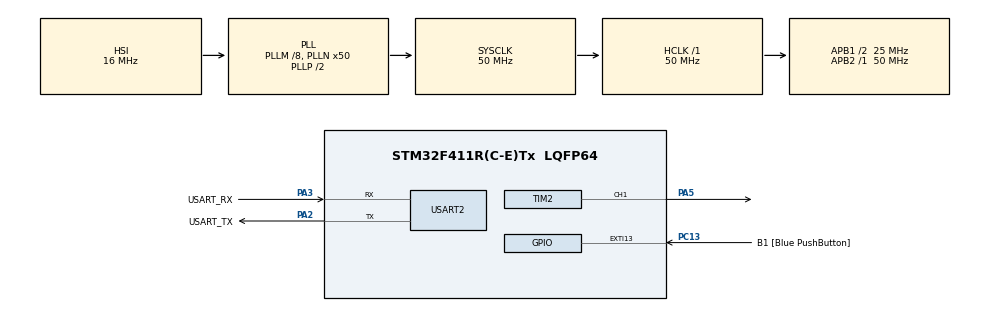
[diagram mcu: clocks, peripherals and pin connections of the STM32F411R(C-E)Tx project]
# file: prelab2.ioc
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FREERTOS.Tasks01=defaultTask,0,128,StartDefaultTask,Default,NULL,Dynamic,NULL,NULL
FREERTOS.configUSE_TIMERS=1
Mcu.Family=STM32F4
Mcu.Name=STM32F411R(C-E)Tx
Mcu.Package=LQFP64
NVIC.PriorityGroup=NVIC_PRIORITYGROUP_4
PA13.GPIO_Label=TMS
PA13.Mode=Serial_Wire
PA13.Signal=SYS_JTMS-SWDIO
PA14.GPIO_Label=TCK
PA14.Mode=Serial_Wire
PA14.Signal=SYS_JTCK-SWCLK
PA2.GPIO_Label=USART_TX
PA2.Mode=Asynchronous
PA2.Signal=USART2_TX
PA3.GPIO_Label=USART_RX
PA3.Mode=Asynchronous
PA3.Signal=USART2_RX
PA5.Signal=S_TIM2_CH1_ETR
PB3.GPIO_Label=SWO
PB3.Signal=SYS_JTDO-SWO
PC13-ANTI_TAMP.GPIO_Label=B1 [Blue PushButton]
PC13-ANTI_TAMP.GPIO_ModeDefaultEXTI=GPIO_MODE_IT_FALLING
PC13-ANTI_TAMP.Signal=GPXTI13
PC14-OSC32_IN.Mode=LSE-External-Oscillator
PC14-OSC32_IN.Signal=RCC_OSC32_IN
PC15-OSC32_OUT.Mode=LSE-External-Oscillator
PC15-OSC32_OUT.Signal=RCC_OSC32_OUT
PH0\ -\ OSC_IN.Mode=HSE-External-Clock-Source
PH0\ -\ OSC_IN.Signal=RCC_OSC_IN
PH1\ -\ OSC_OUT.Mode=HSE-External-Clock-Source
PH1\ -\ OSC_OUT.Signal=RCC_OSC_OUT
ProjectManager.HeapSize=0x200
ProjectManager.StackSize=0x400
ProjectManager.TargetToolchain=STM32CubeIDE
RCC.48MHZClocksFreq_Value=25000000
RCC.AHBFreq_Value=50000000
RCC.APB1CLKDivider=RCC_HCLK_DIV2
RCC.APB1Freq_Value=25000000
RCC.APB1TimFreq_Value=50000000
RCC.APB2Freq_Value=50000000
RCC.APB2TimFreq_Value=50000000
RCC.CortexFreq_Value=50000000
RCC.FLatency-AdvancedSettings=FLASH_LATENCY_1
RCC.HCLKFreq_Value=50000000
RCC.HSE_VALUE=8000000
RCC.HSI_VALUE=16000000
RCC.PLLM=8
RCC.PLLN=50
RCC.SYSCLKFreq_VALUE=50000000
RCC.SYSCLKSource=RCC_SYSCLKSOURCE_PLLCLK
RCC.VCOOutputFreq_Value=100000000
SH.S_TIM2_CH1_ETR.0=TIM2_CH1,PWM Generation1 CH1
TIM2.Channel-PWM\ Generation1\ CH1=TIM_CHANNEL_1
TIM2.Period=99
TIM2.Prescaler=4999
USART2.VirtualMode=VM_ASYNC
VP_FREERTOS_VS_CMSIS_V1.Mode=CMSIS_V1
VP_TIM2_VS_ClockSourceINT.Mode=Internal
board=NUCLEO-F411RE

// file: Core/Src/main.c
/* USER CODE BEGIN Header */
/**
 ******************************************************************************
 * @file           : main.c
 * @brief          : Main program body
 ******************************************************************************
 * @attention
 *
 * <h2><center>&copy; Copyright (c) 2021 STMicroelectronics.
 * All rights reserved.</center></h2>
 *
 * This software component is licensed by ST under BSD 3-Clause license,
 * the "License"; You may not use this file except in compliance with the
 * License. You may obtain a copy of the License at:
 *                        opensource.org/licenses/BSD-3-Clause
 *
 ******************************************************************************
 */
/* USER CODE END Header */
#include "main.h"
#include "cmsis_os.h"

TIM_HandleTypeDef htim2;

UART_HandleTypeDef huart2;

osThreadId defaultTaskHandle;

void SystemClock_Config(void);
static void MX_GPIO_Init(void);
static void MX_USART2_UART_Init(void);
static void MX_TIM2_Init(void);
void StartDefaultTask(void const *argument);

/* USER CODE BEGIN 0 */
char buffer[32];
void timer_thread(void const *args) {
	while (1) {
		TIM2->CCR1 = 0;
		sprintf(buffer, "%d\n\r", TIM2->CCR1);
		HAL_UART_Transmit(&huart2, &buffer, strlen(buffer), 100);
		osDelay(10000);
	}
}
void input_thread(void const *args) {
	while (1) {
		if (HAL_GPIO_ReadPin(GPIOC, GPIO_PIN_13) == 0) {
			TIM2->CCR1 = TIM2->CCR1 + 10;
			sprintf(buffer, "%d\n\r", TIM2->CCR1);
			HAL_UART_Transmit(&huart2, &buffer, strlen(buffer), 100);
			HAL_Delay(10);
			while (HAL_GPIO_ReadPin(GPIOC, GPIO_PIN_13) == 0)
				;
		}
		osDelay(10);
	}
}

/* USER CODE END 0 */

int main(void) {

	/* MCU Configuration--------------------------------------------------------*/

	/* Reset of all peripherals, Initializes the Flash interface and the Systick. */
	HAL_Init();

	/* Configure the system clock */
	SystemClock_Config();

	/* Initialize all configured peripherals */
	MX_GPIO_Init();
	MX_USART2_UART_Init();
	MX_TIM2_Init();

	/* USER CODE BEGIN RTOS_TIMERS */
	/* start timers, add new ones, ... */
	HAL_TIM_PWM_Start(&htim2, TIM_CHANNEL_1);
	/* USER CODE END RTOS_TIMERS */

	/* Create the thread(s) */
	/* definition and creation of defaultTask */
	osThreadDef(defaultTask, StartDefaultTask, osPriorityNormal, 0, 128);
	defaultTaskHandle = osThreadCreate(osThread(defaultTask), NULL);

	/* Start scheduler */
	osKernelStart();

	/* We should never get here as control is now taken by the scheduler */
	/* Infinite loop */
	while (1) {

	}
}

void SystemClock_Config(void) {
	RCC_OscInitTypeDef RCC_OscInitStruct = { 0 };
	RCC_ClkInitTypeDef RCC_ClkInitStruct = { 0 };

	/** Configure the main internal regulator output voltage
	 */
	__HAL_RCC_PWR_CLK_ENABLE();
	__HAL_PWR_VOLTAGESCALING_CONFIG(PWR_REGULATOR_VOLTAGE_SCALE1);
	/** Initializes the RCC Oscillators according to the specified parameters
	 * in the RCC_OscInitTypeDef structure.
	 */
	RCC_OscInitStruct.OscillatorType = RCC_OSCILLATORTYPE_HSI;
	RCC_OscInitStruct.HSIState = RCC_HSI_ON;
	RCC_OscInitStruct.HSICalibrationValue = RCC_HSICALIBRATION_DEFAULT;
	RCC_OscInitStruct.PLL.PLLState = RCC_PLL_ON;
	RCC_OscInitStruct.PLL.PLLSource = RCC_PLLSOURCE_HSI;
	RCC_OscInitStruct.PLL.PLLM = 8;
	RCC_OscInitStruct.PLL.PLLN = 50;
	RCC_OscInitStruct.PLL.PLLP = RCC_PLLP_DIV2;
	RCC_OscInitStruct.PLL.PLLQ = 4;
	if (HAL_RCC_OscConfig(&RCC_OscInitStruct) != HAL_OK) {
		Error_Handler();
	}
	/** Initializes the CPU, AHB and APB buses clocks
	 */
	RCC_ClkInitStruct.ClockType = RCC_CLOCKTYPE_HCLK | RCC_CLOCKTYPE_SYSCLK
			| RCC_CLOCKTYPE_PCLK1 | RCC_CLOCKTYPE_PCLK2;
	RCC_ClkInitStruct.SYSCLKSource = RCC_SYSCLKSOURCE_PLLCLK;
	RCC_ClkInitStruct.AHBCLKDivider = RCC_SYSCLK_DIV1;
	RCC_ClkInitStruct.APB1CLKDivider = RCC_HCLK_DIV2;
	RCC_ClkInitStruct.APB2CLKDivider = RCC_HCLK_DIV1;

	if (HAL_RCC_ClockConfig(&RCC_ClkInitStruct, FLASH_LATENCY_1) != HAL_OK) {
		Error_Handler();
	}
}

static void MX_TIM2_Init(void) {

	TIM_ClockConfigTypeDef sClockSourceConfig = { 0 };
	TIM_MasterConfigTypeDef sMasterConfig = { 0 };
	TIM_OC_InitTypeDef sConfigOC = { 0 };

	htim2.Instance = TIM2;
	htim2.Init.Prescaler = 4999;
	htim2.Init.CounterMode = TIM_COUNTERMODE_UP;
	htim2.Init.Period = 99;
	htim2.Init.ClockDivision = TIM_CLOCKDIVISION_DIV1;
	htim2.Init.AutoReloadPreload = TIM_AUTORELOAD_PRELOAD_DISABLE;
	if (HAL_TIM_Base_Init(&htim2) != HAL_OK) {
		Error_Handler();
	}
	sClockSourceConfig.ClockSource = TIM_CLOCKSOURCE_INTERNAL;
	if (HAL_TIM_ConfigClockSource(&htim2, &sClockSourceConfig) != HAL_OK) {
		Error_Handler();
	}
	if (HAL_TIM_PWM_Init(&htim2) != HAL_OK) {
		Error_Handler();
	}
	sMasterConfig.MasterOutputTrigger = TIM_TRGO_RESET;
	sMasterConfig.MasterSlaveMode = TIM_MASTERSLAVEMODE_DISABLE;
	if (HAL_TIMEx_MasterConfigSynchronization(&htim2, &sMasterConfig)
			!= HAL_OK) {
		Error_Handler();
	}
	sConfigOC.OCMode = TIM_OCMODE_PWM1;
	sConfigOC.Pulse = 0;
	sConfigOC.OCPolarity = TIM_OCPOLARITY_HIGH;
	sConfigOC.OCFastMode = TIM_OCFAST_DISABLE;
	if (HAL_TIM_PWM_ConfigChannel(&htim2, &sConfigOC, TIM_CHANNEL_1)
			!= HAL_OK) {
		Error_Handler();
	}
	HAL_TIM_MspPostInit(&htim2);

}

static void MX_USART2_UART_Init(void) {

	huart2.Instance = USART2;
	huart2.Init.BaudRate = 115200;
	huart2.Init.WordLength = UART_WORDLENGTH_8B;
	huart2.Init.StopBits = UART_STOPBITS_1;
	huart2.Init.Parity = UART_PARITY_NONE;
	huart2.Init.Mode = UART_MODE_TX_RX;
	huart2.Init.HwFlowCtl = UART_HWCONTROL_NONE;
	huart2.Init.OverSampling = UART_OVERSAMPLING_16;
	if (HAL_UART_Init(&huart2) != HAL_OK) {
		Error_Handler();
	}

}

static void MX_GPIO_Init(void) {
	GPIO_InitTypeDef GPIO_InitStruct = { 0 };

	/* GPIO Ports Clock Enable */
	__HAL_RCC_GPIOC_CLK_ENABLE();
	__HAL_RCC_GPIOH_CLK_ENABLE();
	__HAL_RCC_GPIOA_CLK_ENABLE();
	__HAL_RCC_GPIOB_CLK_ENABLE();

	/*Configure GPIO pin : B1_Pin */
	GPIO_InitStruct.Pin = B1_Pin;
	GPIO_InitStruct.Mode = GPIO_MODE_IT_FALLING;
	GPIO_InitStruct.Pull = GPIO_NOPULL;
	HAL_GPIO_Init(B1_GPIO_Port, &GPIO_InitStruct);

}

void StartDefaultTask(void const *argument) {
	/* USER CODE BEGIN 5 */
	osThreadDef(timer, timer_thread, osPriorityNormal, 0, 128);
	osThreadId timerTaskHandle = osThreadCreate(osThread(timer), NULL);
	osThreadDef(input, input_thread, osPriorityNormal, 0, 128);
	osThreadId inputTaskHandle = osThreadCreate(osThread(input), NULL);
	/* Infinite loop */
	for (;;) {
		osDelay(1);
	}
	/* USER CODE END 5 */
}

void Error_Handler(void) {
	__disable_irq();
	while (1) {
	}
}

/************************ (C) COPYRIGHT STMicroelectronics *****END OF FILE****/
